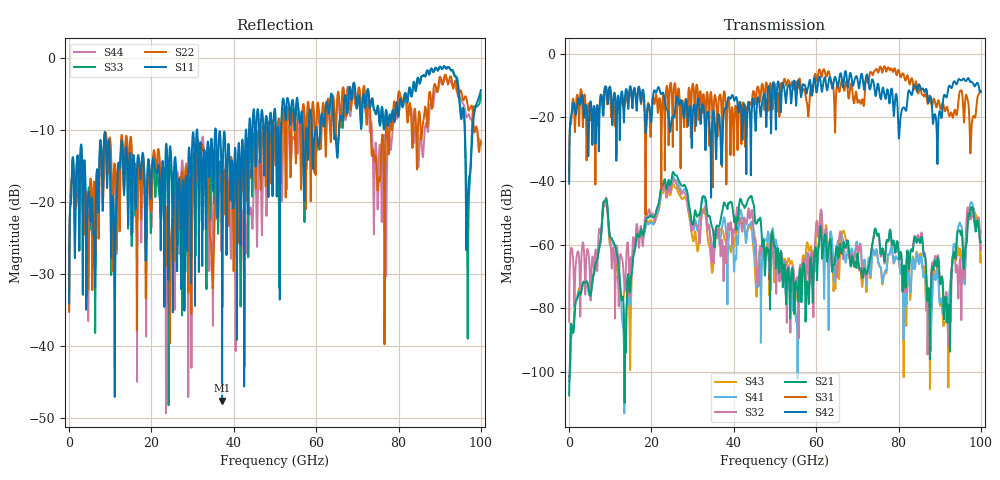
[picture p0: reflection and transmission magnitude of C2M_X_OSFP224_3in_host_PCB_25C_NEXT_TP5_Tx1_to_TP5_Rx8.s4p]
# GHz S RI R 45
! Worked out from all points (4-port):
!   4000 points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, 25 MHz to 100 GHz, reference 45 ohm
!   strongest paths, dB at 25 MHz, 25.02 GHz, 50.02 GHz, 75.03 GHz, 100 GHz:
!     S42: -40.9, -20.1, -13.8, -9.4, -12.0
!     S31: -39.7, -14.6, -10.1, -5.9, -11.6
!     S21: -107.4, -38.2, -60.7, -56.7, -59.2
!     S32: -84.2, -39.5, -66.5, -56.9, -61.1
!     S41: -103.0, -39.6, -58.9, -65.0, -55.8
!     S43: -101.4, -41.4, -67.6, -65.3, -63.7
!   lowest |S11| = -47.6 dB at 37.17 GHz (marker M1), VSWR 1.01, Z = 45.4 - j0.133 ohm
!   |S11| at or under -10 dB: start of sweep to 31.03 GHz; 31.1 GHz to 35.5 GHz (4.396 GHz wide, 13.2 % of centre); 35.65 GHz to 42.96 GHz (7.31 GHz wide, 18.6 % of centre) (the widest 3 of 19)
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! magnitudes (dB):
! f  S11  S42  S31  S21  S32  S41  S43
! 25 MHz  -34.1  -40.9  -39.7  -107.4  -84.2  -103.0  -101.4
! 8.75 GHz  -10.3  -10.8  -10.3  -46.2  -47.0  -46.2  -46.7
! 13.53 GHz  -15.8  -15.0  -15.5  -102.0  -74.5  -91.7  -73.9
! 23 GHz  -18.9  -12.8  -13.9  -40.4  -41.6  -41.2  -42.8
! 37.17 GHz  -47.6  -29.7  -35.5  -49.8  -58.5  -54.4  -55.5
! 55.12 GHz  -6.6  -16.3  -8.8  -71.7  -71.4  -84.3  -76.6
! 100 GHz  -4.5  -12.0  -11.6  -59.2  -61.1  -55.8  -63.7
